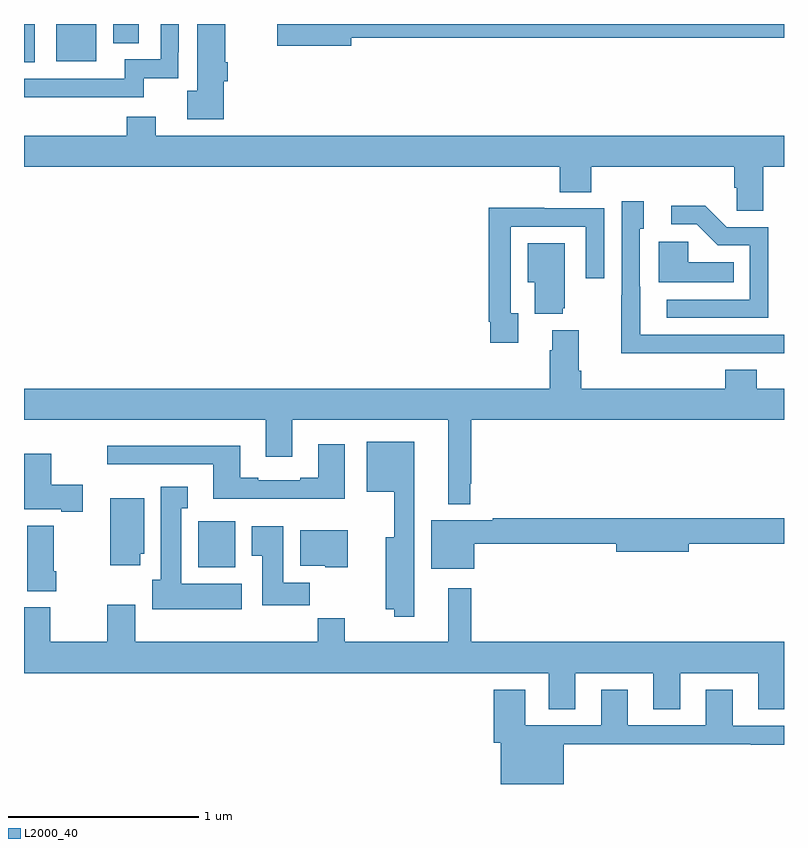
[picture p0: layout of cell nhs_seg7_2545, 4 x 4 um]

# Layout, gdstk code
import gdstk
lib = gdstk.Library(unit=1e-6, precision=1e-09)
def R(c, l, rs):  # rectangles x0, y0, x1, y1
    for r in rs: c.add(gdstk.rectangle(r[:2], r[2:], *l))
def P(c, l, *ps):  # polygons
    for p in ps: c.add(gdstk.Polygon(p, *l))
L2000_40 = (2000, 40)

nhs_seg7_2545 = lib.new_cell('nhs_seg7_2545')
R(nhs_seg7_2545, L2000_40, [(277.916,1033.142,278.113,1033.384), (277,1035.8,277.057,1036), (277.169,1035.803,277.381,1036), (277.469,1035.899,277.603,1036)])
P(nhs_seg7_2545, L2000_40, [(278.722,1035.928),(281,1035.928),(281,1036),(278.334,1036),(278.334,1035.886),(278.722,1035.886)],
  [(278.051,1035.699),(278.072,1035.699),(278.072,1035.799),(278.059,1035.799),(278.059,1036),(277.913,1036),(277.913,1035.648),(277.86,1035.648),(277.86,1035.5),(278.051,1035.5)],
  [(277.629,1035.714),(277.812,1035.714),(277.812,1035.852),(277.815,1035.852),(277.815,1036),(277.719,1036),(277.719,1035.814),(277.529,1035.814),(277.529,1035.711),(277,1035.711),(277,1035.614),(277.629,1035.614)],
  [(280.891,1035.248),(281,1035.248),(281,1035.412),(277.693,1035.412),(277.693,1035.511),(277.541,1035.511),(277.541,1035.412),(277,1035.412),(277,1035.248),(279.821,1035.248),(279.821,1035.115),(279.986,1035.115),(279.986,1035.248),(280.739,1035.248),(280.739,1035.139),(280.752,1035.139),(280.752,1035.016),(280.891,1035.016)],
  [(280.607,1034.268),(281,1034.268),(281,1034.364),(280.243,1034.364),(280.243,1034.618),(280.242,1034.618),(280.242,1034.922),(280.261,1034.922),(280.261,1035.067),(280.146,1035.067),(280.146,1034.573),(280.144,1034.573),(280.144,1034.267),(280.607,1034.267)],
  [(280.917,1034.931),(280.698,1034.931),(280.585,1035.044),(280.407,1035.044),(280.407,1034.946),(280.541,1034.946),(280.652,1034.835),(280.821,1034.835),(280.821,1034.55),(280.383,1034.55),(280.383,1034.454),(280.917,1034.454)],
  [(279.601,1034.478),(279.561,1034.478),(279.561,1034.934),(279.957,1034.934),(279.957,1034.661),(280.053,1034.661),(280.053,1035.03),(279.737,1035.03),(279.737,1035.032),(279.445,1035.032),(279.445,1034.434),(279.453,1034.434),(279.453,1034.322),(279.601,1034.322)],
  [(280.736,1034.746),(280.497,1034.746),(280.497,1034.854),(280.34,1034.854),(280.34,1034.642),(280.736,1034.642)],
  [(279.836,1034.505),(279.847,1034.505),(279.847,1034.845),(279.65,1034.845),(279.65,1034.642),(279.689,1034.642),(279.689,1034.474),(279.836,1034.474)],
  [(279.348,1033.579),(279.355,1033.579),(279.355,1033.916),(281,1033.916),(281,1034.08),(280.856,1034.08),(280.856,1034.179),(280.691,1034.179),(280.691,1034.08),(279.932,1034.08),(279.932,1034.176),(279.919,1034.176),(279.919,1034.389),(279.779,1034.389),(279.779,1034.282),(279.767,1034.282),(279.767,1034.08),(277,1034.08),(277,1033.916),(278.273,1033.916),(278.273,1033.722),(278.413,1033.722),(278.413,1033.916),(279.233,1033.916),(279.233,1033.472),(279.348,1033.472)],
  [(279.055,1033.801),(278.804,1033.801),(278.804,1033.538),(278.949,1033.538),(278.949,1033.3),(278.903,1033.3),(278.903,1032.92),(278.949,1032.92),(278.949,1032.881),(279.055,1032.881)],
  [(278.689,1033.789),(278.549,1033.789),(278.549,1033.612),(278.453,1033.612),(278.453,1033.599),(278.233,1033.599),(278.233,1033.612),(278.137,1033.612),(278.137,1033.78),(277.437,1033.78),(277.437,1033.683),(277.997,1033.683),(277.997,1033.502),(278.689,1033.502)],
  [(277.309,1033.575),(277.143,1033.575),(277.143,1033.738),(277,1033.738),(277,1033.446),(277.196,1033.446),(277.196,1033.433),(277.309,1033.433)],
  [(278.146,1033.054),(277.828,1033.054),(277.828,1033.451),(277.861,1033.451),(277.861,1033.564),(277.721,1033.564),(277.721,1033.074),(277.676,1033.074),(277.676,1032.92),(278.146,1032.92)],
  [(277.612,1033.212),(277.633,1033.212),(277.633,1033.504),(277.454,1033.504),(277.454,1033.152),(277.612,1033.152)],
  [(279.37,1033.264),(280.118,1033.264),(280.118,1033.222),(280.498,1033.222),(280.498,1033.264),(281,1033.264),(281,1033.4),(279.466,1033.4),(279.466,1033.387),(279.143,1033.387),(279.143,1033.133),(279.37,1033.133)],
  [(277.169,1033.12),(277.156,1033.12),(277.156,1033.36),(277.016,1033.36),(277.016,1033.015),(277.169,1033.015)],
  [(278.504,1033.06),(278.365,1033.06),(278.365,1033.357),(278.198,1033.357),(278.198,1033.201),(278.255,1033.201),(278.255,1032.942),(278.504,1032.942)],
  [(278.704,1033.336),(278.453,1033.336),(278.453,1033.148),(278.586,1033.148),(278.586,1033.142),(278.704,1033.142)],
  [(279.901,1032.584),(280.313,1032.584),(280.313,1032.394),(280.453,1032.394),(280.453,1032.584),(280.865,1032.584),(280.865,1032.394),(281,1032.394),(281,1032.748),(279.355,1032.748),(279.355,1033.03),(279.233,1033.03),(279.233,1032.748),(278.689,1032.748),(278.689,1032.872),(278.545,1032.872),(278.545,1032.748),(277.585,1032.748),(277.585,1032.943),(277.438,1032.943),(277.438,1032.748),(277.137,1032.748),(277.137,1032.93),(277,1032.93),(277,1032.584),(279.761,1032.584),(279.761,1032.394),(279.901,1032.394)],
  [(279.841,1032.208),(280.825,1032.208),(280.825,1032.206),(281,1032.206),(281,1032.306),(280.729,1032.306),(280.729,1032.496),(280.589,1032.496),(280.589,1032.309),(280.177,1032.309),(280.177,1032.496),(280.037,1032.496),(280.037,1032.309),(279.637,1032.309),(279.637,1032.496),(279.473,1032.496),(279.473,1032.216),(279.509,1032.216),(279.509,1032),(279.841,1032)])

lib.write_gds('nhs_seg7_2545.gds')
